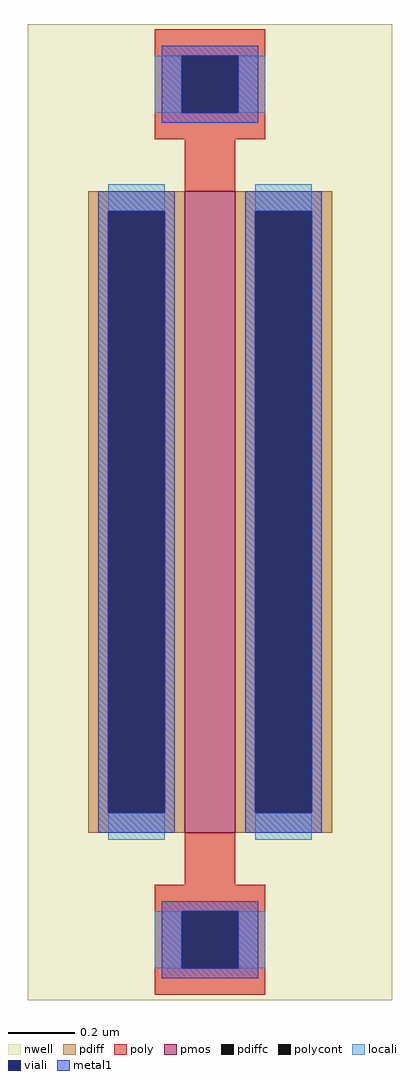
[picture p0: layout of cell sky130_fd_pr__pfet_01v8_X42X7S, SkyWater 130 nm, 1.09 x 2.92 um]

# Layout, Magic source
magic
tech sky130A
magscale 1 2
<< nwell >>
rect -109 -292 109 292
<< pmos >>
rect -15 -192 15 192
<< pdiff >>
rect -73 180 -15 192
rect -73 -180 -61 180
rect -27 -180 -15 180
rect -73 -192 -15 -180
rect 15 180 73 192
rect 15 -180 27 180
rect 61 -180 73 180
rect 15 -192 73 -180
<< pdiffc >>
rect -61 -180 -27 180
rect 27 -180 61 180
<< poly >>
rect -33 273 33 289
rect -33 239 -17 273
rect 17 239 33 273
rect -33 223 33 239
rect -15 192 15 223
rect -15 -223 15 -192
rect -33 -239 33 -223
rect -33 -273 -17 -239
rect 17 -273 33 -239
rect -33 -289 33 -273
<< polycont >>
rect -17 239 17 273
rect -17 -273 17 -239
<< locali >>
rect -33 239 -17 273
rect 17 239 33 273
rect -61 180 -27 196
rect -61 -196 -27 -180
rect 27 180 61 196
rect 27 -196 61 -180
rect -33 -273 -17 -239
rect 17 -273 33 -239
<< viali >>
rect -17 239 17 273
rect -61 -180 -27 180
rect 27 -180 61 180
rect -17 -273 17 -239
<< metal1 >>
rect -29 273 29 279
rect -29 239 -17 273
rect 17 239 29 273
rect -29 233 29 239
rect -67 180 -21 192
rect -67 -180 -61 180
rect -27 -180 -21 180
rect -67 -192 -21 -180
rect 21 180 67 192
rect 21 -180 27 180
rect 61 -180 67 180
rect 21 -192 67 -180
rect -29 -239 29 -233
rect -29 -273 -17 -239
rect 17 -273 29 -239
rect -29 -279 29 -273
<< properties >>
string gencell sky130_fd_pr__pfet_01v8
string library sky130
string parameters w 1.92 l 0.15 m 1 nf 1 diffcov 100 polycov 100 guard 0 glc 1 grc 1 gtc 1 gbc 1 tbcov 100 rlcov 100 topc 1 botc 1 poverlap 0 doverlap 1 lmin 0.15 wmin 0.42 compatible {sky130_fd_pr__pfet_01v8  sky130_fd_pr__pfet_01v8_lvt sky130_fd_pr__pfet_01v8_hvt  sky130_fd_pr__pfet_g5v0d10v5} full_metal 1 viasrc 100 viadrn 100 viagate 100 viagb 0 viagr 0 viagl 0 viagt 0
<< end >>
